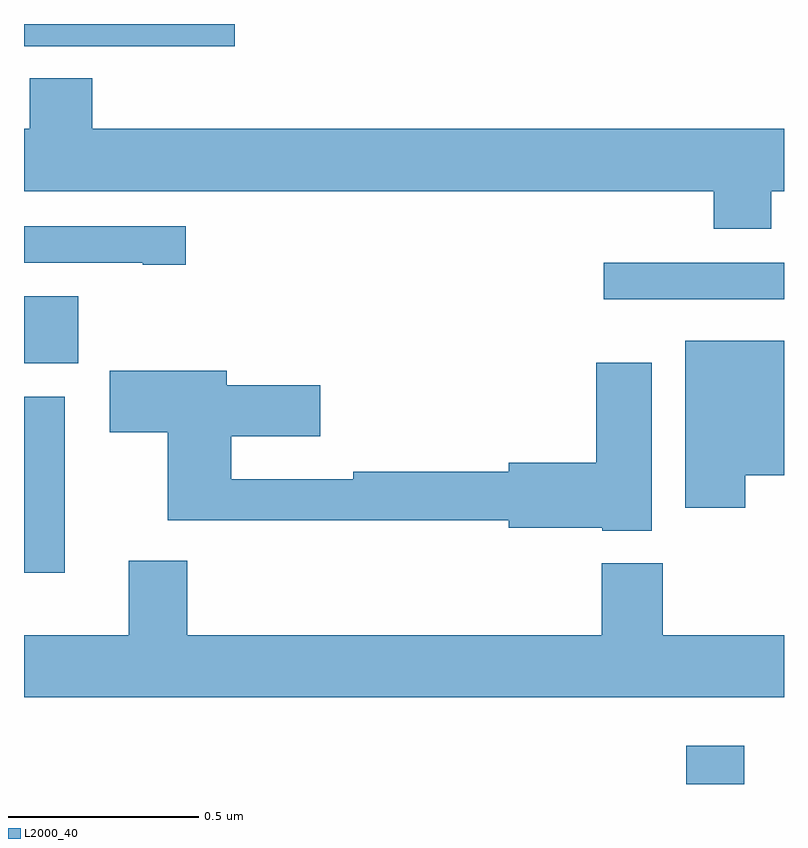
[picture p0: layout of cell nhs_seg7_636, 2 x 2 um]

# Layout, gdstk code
import gdstk
lib = gdstk.Library(unit=1e-6, precision=1e-09)
def R(c, l, rs):  # rectangles x0, y0, x1, y1
    for r in rs: c.add(gdstk.rectangle(r[:2], r[2:], *l))
def P(c, l, *ps):  # polygons
    for p in ps: c.add(gdstk.Polygon(p, *l))
L2000_40 = (2000, 40)

nhs_seg7_636 = lib.new_cell('nhs_seg7_636')
R(nhs_seg7_636, L2000_40, [(120.743,1055,120.895,1055.101), (119,1055.556,119.107,1056.019), (119,1056.107,119.143,1056.283), (120.525,1056.276,121,1056.372)])
P(nhs_seg7_636, L2000_40, [(119.555,1057),(119,1057),(119,1056.942),(119.263,1056.942),(119.263,1056.941),(119.555,1056.941)],
  [(120.967,1056.56),(121,1056.56),(121,1056.724),(119.18,1056.724),(119.18,1056.857),(119.015,1056.857),(119.015,1056.724),(119,1056.724),(119,1056.56),(120.815,1056.56),(120.815,1056.461),(120.967,1056.461)],
  [(119.425,1056.468),(119,1056.468),(119,1056.372),(119.312,1056.372),(119.312,1056.367),(119.425,1056.367)],
  [(120.898,1055.813),(121,1055.813),(121,1056.166),(120.74,1056.166),(120.74,1055.727),(120.898,1055.727)],
  [(120.652,1056.109),(120.506,1056.109),(120.506,1055.846),(120.275,1055.846),(120.275,1055.822),(119.866,1055.822),(119.866,1055.802),(119.546,1055.802),(119.546,1055.915),(119.779,1055.915),(119.779,1056.05),(119.533,1056.05),(119.533,1056.088),(119.226,1056.088),(119.226,1055.926),(119.378,1055.926),(119.378,1055.694),(120.275,1055.694),(120.275,1055.675),(120.522,1055.675),(120.522,1055.666),(120.652,1055.666)],
  [(121,1055.392),(120.681,1055.392),(120.681,1055.581),(120.521,1055.581),(120.521,1055.392),(119.429,1055.392),(119.429,1055.587),(119.276,1055.587),(119.276,1055.392),(119,1055.392),(119,1055.228),(121,1055.228)])

lib.write_gds('nhs_seg7_636.gds')
